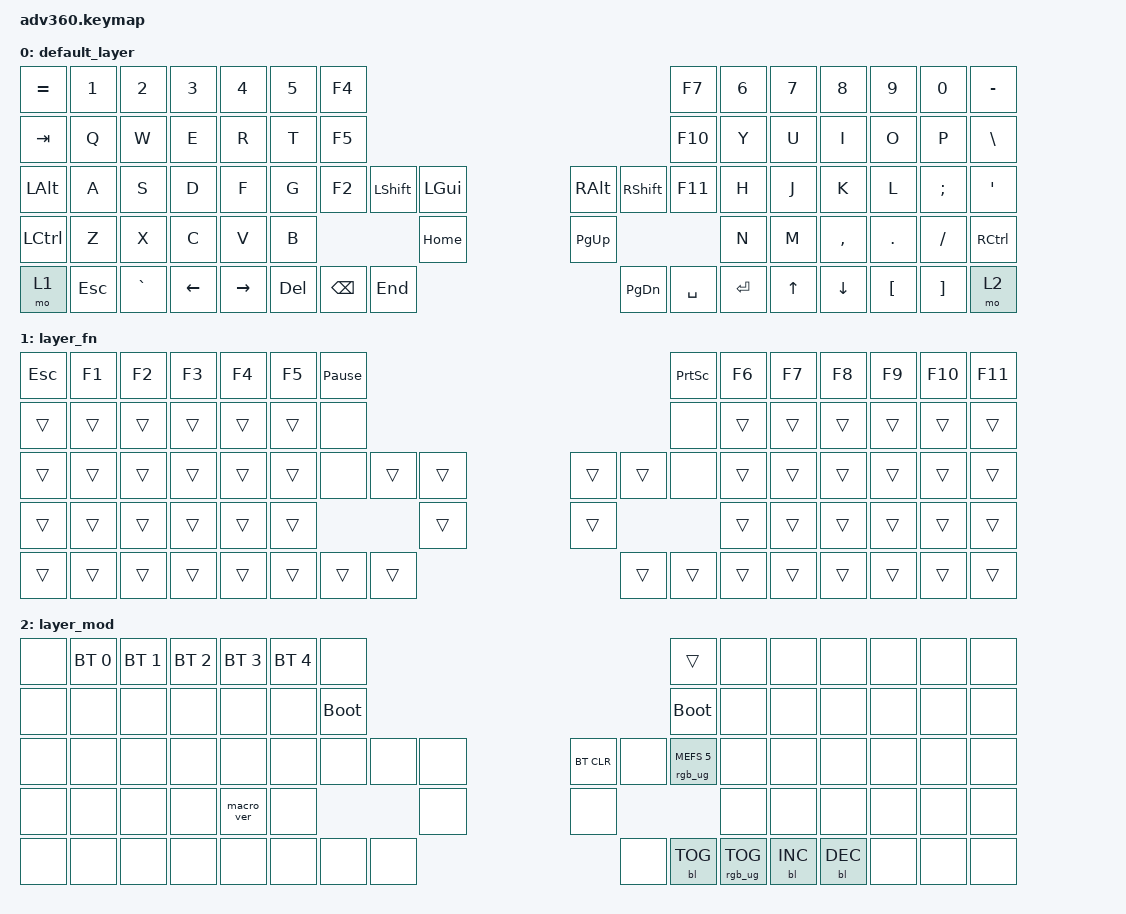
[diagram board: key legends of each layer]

/*
 * Copyright (c) 2020 The ZMK Contributors
 *
 * SPDX-License-Identifier: MIT
 */


/* THIS FILE WAS GENERATED!
 *
 * This file was generated automatically. You may or may not want to
 * edit it directly.
 */

#include <behaviors.dtsi>
#include <dt-bindings/zmk/keys.h>
#include <dt-bindings/zmk/bt.h>
#include <dt-bindings/zmk/rgb.h>
#include <dt-bindings/zmk/backlight.h>

/ {
  behaviors {
    #include "macros.dtsi"
    #include "version.dtsi"

    hm: homerow_mods {
        compatible = "zmk,behavior-hold-tap";
        label = "HOMEROW_MODS";
        #binding-cells = <2>;
        tapping-term-ms = <200>;
        quick_tap_ms = <175>;
        flavor = "tap-preferred";
        bindings = <&kp>, <&kp>;
    };
  };

    keymap {
        compatible = "zmk,keymap";


        default_layer {
            bindings = <
 &kp EQUAL   &kp N1     &kp N2    &kp N3     &kp N4  &kp N5             &kp F4                                                                     &kp F7  &kp N6  &kp N7     &kp N8    &kp N9    &kp N0  &kp MINUS
   &kp TAB    &kp Q      &kp W     &kp E      &kp R   &kp T             &kp F5                                                                    &kp F10   &kp Y   &kp U      &kp I     &kp O     &kp P   &kp BSLH
  &kp LALT    &kp A      &kp S     &kp D      &kp F   &kp G             &kp F2  &kp LSHIFT  &kp LGUI                  &kp RIGHT_ALT  &kp RSHFT    &kp F11   &kp H   &kp J      &kp K     &kp L  &kp SEMI    &kp SQT
 &kp LCTRL    &kp Z      &kp X     &kp C      &kp V   &kp B                                 &kp HOME                      &kp PG_UP                         &kp N   &kp M  &kp COMMA   &kp DOT  &kp FSLH  &kp RCTRL
     &mo 1  &kp ESC  &kp GRAVE  &kp LEFT  &kp RIGHT                    &kp DEL    &kp BSPC   &kp END                      &kp PG_DN  &kp SPACE  &kp ENTER          &kp UP   &kp DOWN  &kp LBKT  &kp RBKT      &mo 2
            >;
        };

        layer_fn {
            bindings = <
 &kp ESC  &kp F1  &kp F2  &kp F3  &kp F4  &kp F5            &kp PAUSE_BREAK                                                  &kp PRINTSCREEN  &kp F6  &kp F7  &kp F8  &kp F9  &kp F10  &kp F11
  &trans  &trans  &trans  &trans  &trans  &trans                      &none                                                            &none  &trans  &trans  &trans  &trans   &trans   &trans
  &trans  &trans  &trans  &trans  &trans  &trans                      &none  &trans  &trans                  &trans  &trans            &none  &trans  &trans  &trans  &trans   &trans   &trans
  &trans  &trans  &trans  &trans  &trans  &trans                                     &trans                  &trans                           &trans  &trans  &trans  &trans   &trans   &trans
  &trans  &trans  &trans  &trans  &trans                             &trans  &trans  &trans                  &trans  &trans           &trans          &trans  &trans  &trans   &trans   &trans
            >;
        };

        layer_mod {
            bindings = <
  &none  &bt BT_SEL 0  &bt BT_SEL 1  &bt BT_SEL 2  &bt BT_SEL 3  &bt BT_SEL 4                  &none                                                                          &trans   &none       &none       &none   &none   &none   &none
  &none         &none         &none         &none         &none         &none            &bootloader                                                                     &bootloader   &none       &none       &none   &none   &none   &none
  &none         &none         &none         &none         &none         &none                  &none   &none   &none                  &bt BT_CLR       &none  &rgb_ug RGB_MEFS_CMD 5   &none       &none       &none   &none   &none   &none
  &none         &none         &none         &none    &macro_ver         &none                                  &none                       &none                                       &none       &none       &none   &none   &none   &none
  &none         &none         &none         &none         &none                                &none   &none   &none                       &none  &bl BL_TOG         &rgb_ug RGB_TOG          &bl BL_INC  &bl BL_DEC   &none   &none   &none
            >;
        };

    };
};
